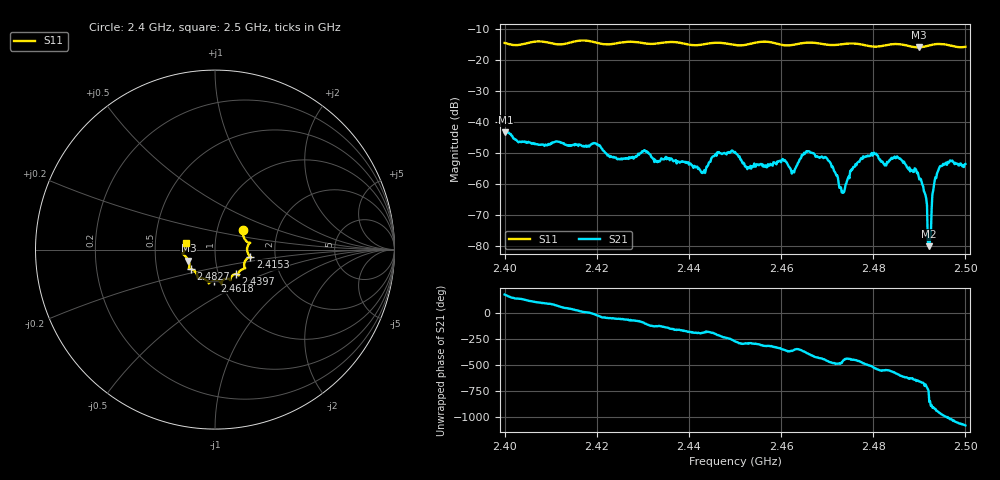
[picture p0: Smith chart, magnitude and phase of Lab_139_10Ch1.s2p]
# Hz S RI R 50
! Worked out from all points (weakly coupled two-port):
!   601 points, 2.4 GHz to 2.5 GHz, reference 50 ohm
!   highest |S21| = -43.37 dB at 2.4002 GHz (marker M1); lowest = -80.2 dB at 2.4922 GHz (marker M2)
!   lowest |S11| = -15.9 dB at 2.4898 GHz (marker M3), VSWR 1.38, Z = 36.9 - j4.63 ohm
!   |S11| at or under -10 dB: start of sweep to end of sweep
!   S12 and S22 are empty: the file has one direction only
!   S11 on the Smith chart (normalised r, x): 2.4 GHz: 1.33, +0.30; 2.4153 GHz: 1.48, -0.12; 2.4397 GHz: 1.21, -0.34; 2.4618 GHz: 0.94, -0.33; 2.4827 GHz: 0.75, -0.17; 2.5 GHz: 0.72, +0.06
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2.4e9  0.1553 0.107  -0.00675 0.000175  0 0  0 0
2.400167e9  0.1549 0.1047  -0.00676 0.000567  0 0  0 0
2.415333e9  0.1968 -0.0397  0.00385 0.00213  0 0  0 0
2.416667e9  0.2023 -0.0437  0.004 0.00118  0 0  0 0
2.433333e9  0.1298 -0.1336  -0.00134 -0.00191  0 0  0 0
2.439667e9  0.1169 -0.1359  -0.00218 -5.09e-05  0 0  0 0
2.443167e9  0.088 -0.1562  -0.00155 0.00021  0 0  0 0
2.45e9  0.0655 -0.1622  6.21e-05 0.00328  0 0  0 0
2.452667e9  0.0403 -0.1736  0.000709 0.00157  0 0  0 0
2.461833e9  -0.0035 -0.1728  0.00182 -0.000303  0 0  0 0
2.466667e9  -0.0349 -0.1879  0.00217 -0.00232  0 0  0 0
2.470167e9  -0.0496 -0.1692  -0.000547 -0.00234  0 0  0 0
2.473333e9  -0.0836 -0.1599  -0.000222 -0.000713  0 0  0 0
2.477667e9  -0.0981 -0.1475  -0.00123 -0.0022  0 0  0 0
2.482667e9  -0.1348 -0.1085  -0.00205 0.000306  0 0  0 0
2.483333e9  -0.14 -0.1081  -0.00222 0.000452  0 0  0 0
2.489833e9  -0.1479 -0.0611  0.000597 0.00119  0 0  0 0
2.491167e9  -0.1593 -0.0432  0.00068 0.000215  0 0  0 0
2.492167e9  -0.1693 -0.0326  -7.09e-05 -6.79e-05  0 0  0 0
2.493333e9  -0.1779 -0.025  -0.00104 0.000435  0 0  0 0
2.494333e9  -0.1806 -0.0214  -0.000877 0.00159  0 0  0 0
2.5e9  -0.1593 0.0383  0.00209 -0.000115  0 0  0 0
